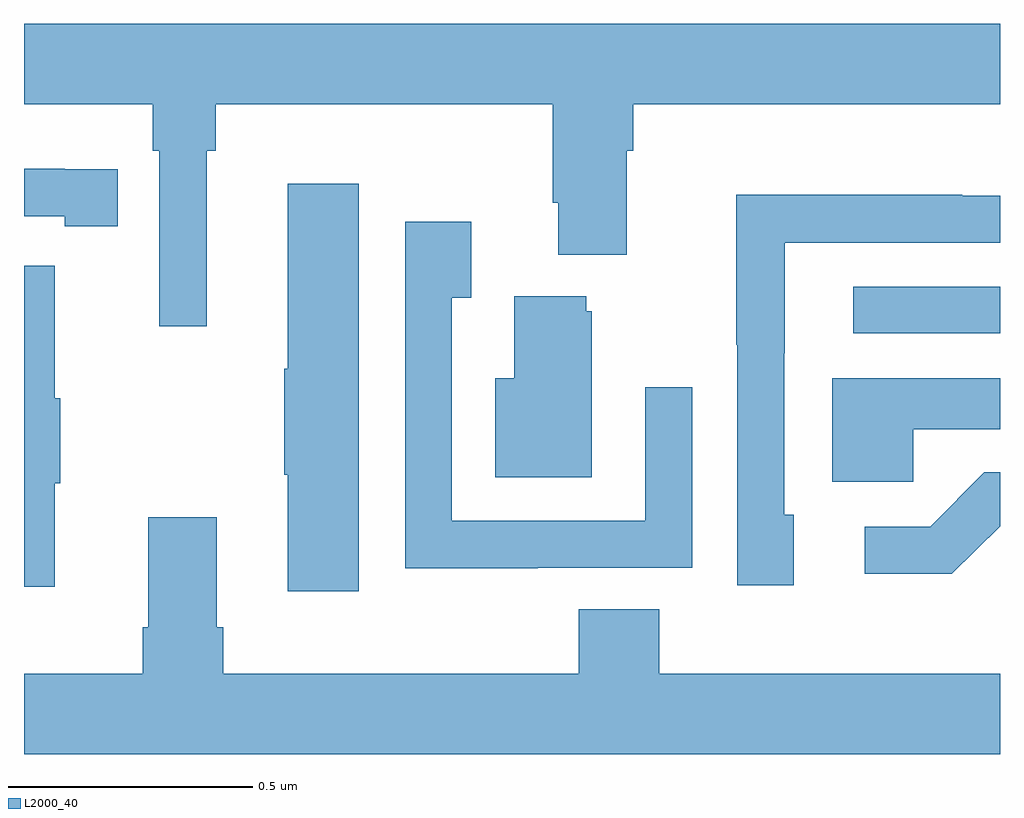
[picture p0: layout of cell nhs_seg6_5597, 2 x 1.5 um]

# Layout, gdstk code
import gdstk
lib = gdstk.Library(unit=1e-6, precision=1e-09)
def R(c, l, rs):  # rectangles x0, y0, x1, y1
    for r in rs: c.add(gdstk.rectangle(r[:2], r[2:], *l))
def P(c, l, *ps):  # polygons
    for p in ps: c.add(gdstk.Polygon(p, *l))
L2000_40 = (2000, 40)

nhs_seg6_5597 = lib.new_cell('nhs_seg6_5597')
R(nhs_seg6_5597, L2000_40, [(186.699,921.558,187,921.654)])
P(nhs_seg6_5597, L2000_40, [(185.374,921.932),(185.393,921.932),(185.393,922.028),(186.083,922.028),(186.083,921.826),(186.095,921.826),(186.095,921.719),(186.235,921.719),(186.235,921.932),(186.248,921.932),(186.248,922.028),(187,922.028),(187,922.192),(185,922.192),(185,922.028),(185.264,922.028),(185.264,921.932),(185.277,921.932),(185.277,921.573),(185.374,921.573)],
  [(185.192,921.894),(185.084,921.894),(185.084,921.895),(185,921.895),(185,921.798),(185.084,921.798),(185.084,921.778),(185.192,921.778)],
  [(185.686,921.865),(185.54,921.865),(185.54,921.485),(185.533,921.485),(185.533,921.268),(185.54,921.268),(185.54,921.03),(185.686,921.03)],
  [(186.577,921.186),(186.558,921.186),(186.558,921.517),(186.559,921.517),(186.559,921.744),(187,921.744),(187,921.84),(186.923,921.84),(186.923,921.842),(186.46,921.842),(186.46,921.535),(186.462,921.535),(186.462,921.042),(186.577,921.042)],
  [(186.053,921.078),(186.369,921.078),(186.369,921.448),(186.273,921.448),(186.273,921.174),(185.877,921.174),(185.877,921.631),(185.917,921.631),(185.917,921.787),(185.781,921.787),(185.781,921.077),(186.053,921.077)],
  [(185.063,921.251),(185.074,921.251),(185.074,921.425),(185.063,921.425),(185.063,921.697),(185,921.697),(185,921.039),(185.063,921.039)],
  [(186.163,921.603),(186.152,921.603),(186.152,921.634),(186.005,921.634),(186.005,921.466),(185.966,921.466),(185.966,921.263),(186.163,921.263)],
  [(186.822,921.362),(187,921.362),(187,921.466),(186.656,921.466),(186.656,921.254),(186.822,921.254)],
  [(187,921.163),(187,921.273),(186.968,921.273),(186.857,921.162),(186.723,921.162),(186.723,921.065),(186.901,921.065)],
  [(187,920.86),(186.302,920.86),(186.302,920.993),(186.137,920.993),(186.137,920.86),(185.408,920.86),(185.408,920.956),(185.395,920.956),(185.395,921.181),(185.255,921.181),(185.255,920.956),(185.243,920.956),(185.243,920.86),(185,920.86),(185,920.696),(187,920.696)])

lib.write_gds('nhs_seg6_5597.gds')
